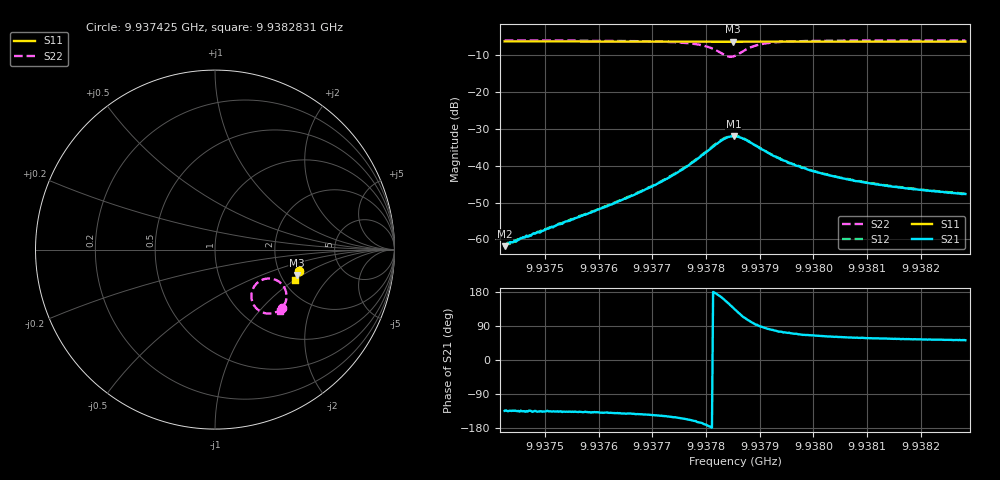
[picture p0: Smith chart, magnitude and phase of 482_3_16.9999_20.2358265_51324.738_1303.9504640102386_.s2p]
#  HZ  S  RI  R  50.00
! Rohde & Schwarz Vector Network Analyzer
! Rohde-Schwarz,ZNB20-2Port,1311601062101988,3.16
! Created: UTC 3/20/2024, 11:13:44 PM
! freq[Hz]  re:S11  im:S11  re:S21  im:S21  re:S12  im:S12  re:S22  im:S22
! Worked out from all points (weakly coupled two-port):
!   401 points, 9.937425 GHz to 9.9382831 GHz, reference 50 ohm
!   highest |S21| = -32.00 dB at 9.9378519 GHz (marker M1); lowest = -61.8 dB at 9.937425 GHz (marker M2)
!   lowest |S11| = -6.4 dB at 9.9378497 GHz (marker M3), VSWR 2.83, Z = 122 - j45.2 ohm
!   |S11| at or under -10 dB: nowhere
!   |S22| runs from -10.5 to -6.1 dB; largest |S21 - S12| = 0.00099
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9.93742496e9  0.4688 -0.1168  -0.000564 -0.000584  -0.000582 -0.000584  0.3758 -0.3252
9.93745499e9  0.4682 -0.1187  -0.000717 -0.000754  -0.000755 -0.000734  0.3732 -0.3274
9.93749361e9  0.4672 -0.1213  -0.000924 -0.000905  -0.000955 -0.000921  0.3693 -0.3306
9.93756869e9  0.4655 -0.1263  -0.00153 -0.00142  -0.00156 -0.00142  0.3604 -0.3375
9.93765451e9  0.4634 -0.1321  -0.00288 -0.00233  -0.00298 -0.00233  0.3442 -0.3467
9.93771243e9  0.4619 -0.1361  -0.00488 -0.00323  -0.00497 -0.00318  0.3245 -0.3538
9.93775963e9  0.4604 -0.1393  -0.0084 -0.0039  -0.00861 -0.00381  0.2935 -0.3565
9.93779825e9  0.4588 -0.1417  -0.0147 -0.00257  -0.0149 -0.00227  0.2442 -0.339
9.93781541e9  0.4576 -0.1427  -0.0185 0.000673  -0.019 0.00108  0.2159 -0.3083
9.93783043e9  0.4569 -0.143  -0.0214 0.00622  -0.0216 0.00695  0.2027 -0.2587
9.93784115e9  0.4566 -0.1431  -0.0213 0.0122  -0.0211 0.013  0.2133 -0.2144
9.93784973e9  0.4565 -0.1429  -0.0188 0.0164  -0.0186 0.0172  0.2379 -0.1835
9.93785188e9  0.4567 -0.143  -0.018 0.0175  -0.0176 0.0184  0.2459 -0.1777
9.93785402e9  0.4565 -0.1429  -0.017 0.0182  -0.0168 0.0191  0.2545 -0.1725
9.93786475e9  0.4569 -0.1432  -0.0118 0.0209  -0.0114 0.0215  0.2995 -0.1608
9.93787977e9  0.4572 -0.1439  -0.00503 0.0205  -0.00459 0.021  0.3505 -0.1748
9.93790337e9  0.4574 -0.146  0.000645 0.0167  0.00118 0.0169  0.3882 -0.2149
9.93795486e9  0.4567 -0.15  0.00335 0.0103  0.00379 0.0104  0.398 -0.271
9.93799776e9  0.4557 -0.1529  0.00363 0.00769  0.00378 0.00772  0.3927 -0.2936
9.93805783e9  0.4541 -0.1571  0.00331 0.00579  0.00347 0.00577  0.3847 -0.3109
9.9381415e9  0.4517 -0.1626  0.00296 0.00437  0.00307 0.00438  0.3755 -0.3251
9.9382831e9  0.4479 -0.1718  0.00254 0.00326  0.00259 0.00328  0.3632 -0.3395
